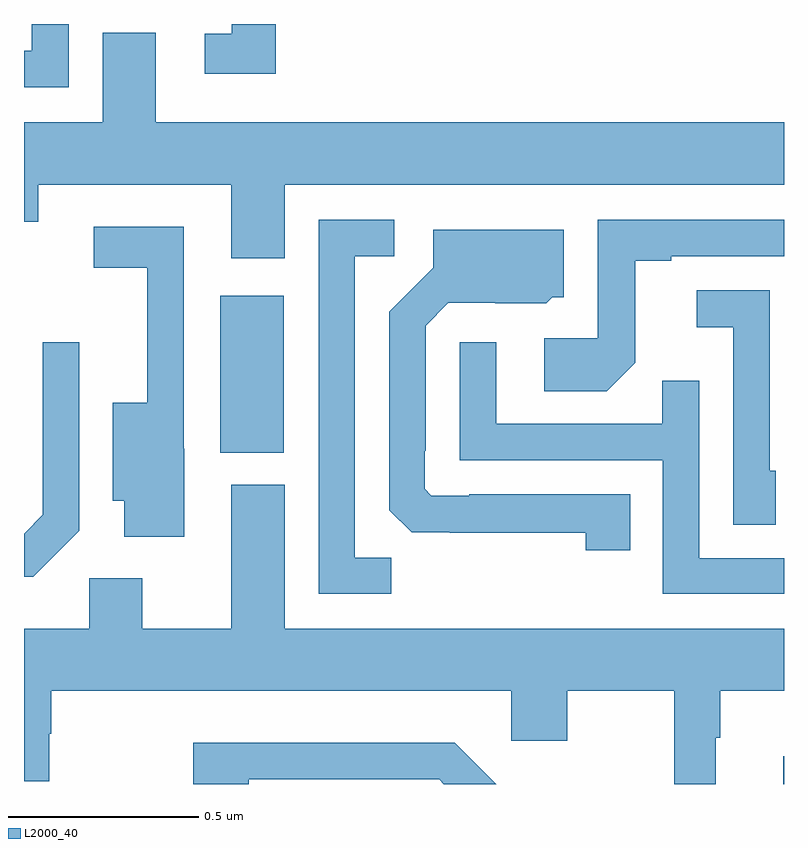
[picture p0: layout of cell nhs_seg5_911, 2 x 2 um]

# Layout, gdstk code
import gdstk
lib = gdstk.Library(unit=1e-6, precision=1e-09)
def R(c, l, rs):  # rectangles x0, y0, x1, y1
    for r in rs: c.add(gdstk.rectangle(r[:2], r[2:], *l))
def P(c, l, *ps):  # polygons
    for p in ps: c.add(gdstk.Polygon(p, *l))
L2000_40 = (2000, 40)

nhs_seg5_911 = lib.new_cell('nhs_seg5_911')
R(nhs_seg5_911, L2000_40, [(123.998,905.799,124,905.872), (122.516,906.671,122.683,907.084)])
P(nhs_seg5_911, L2000_40, [(122.663,907.799),(122.547,907.799),(122.547,907.773),(122.475,907.773),(122.475,907.668),(122.663,907.668)],
  [(122.118,907.799),(122.021,907.799),(122.021,907.728),(122,907.728),(122,907.632),(122.118,907.632)],
  [(122.686,907.376),(124,907.376),(124,907.54),(122.347,907.54),(122.347,907.776),(122.207,907.776),(122.207,907.54),(122,907.54),(122,907.278),(122.038,907.278),(122.038,907.376),(122.546,907.376),(122.546,907.182),(122.686,907.182)],
  [(122.967,906.395),(122.871,906.395),(122.871,907.188),(122.974,907.188),(122.974,907.284),(122.775,907.284),(122.775,906.3),(122.967,906.3)],
  [(123.609,906.908),(123.609,907.176),(123.703,907.176),(123.703,907.188),(124,907.188),(124,907.284),(123.51,907.284),(123.51,906.972),(123.369,906.972),(123.369,906.832),(123.533,906.832)],
  [(122.422,906.681),(122.421,906.681),(122.421,907.266),(122.184,907.266),(122.184,907.158),(122.324,907.158),(122.324,906.802),(122.234,906.802),(122.234,906.545),(122.264,906.545),(122.264,906.45),(122.422,906.45)],
  [(123.596,906.561),(123.172,906.561),(123.172,906.558),(123.072,906.558),(123.054,906.576),(123.054,906.676),(123.057,906.676),(123.057,907.005),(123.117,907.065),(123.24,907.065),(123.24,907.064),(123.374,907.064),(123.39,907.08),(123.421,907.08),(123.421,907.258),(123.077,907.258),(123.077,907.158),(122.961,907.042),(122.961,906.52),(123.02,906.461),(123.121,906.461),(123.121,906.46),(123.478,906.46),(123.478,906.414),(123.596,906.414)],
  [(123.978,906.624),(123.963,906.624),(123.963,907.098),(123.771,907.098),(123.771,907.001),(123.867,907.001),(123.867,906.481),(123.978,906.481)],
  [(124,906.393),(123.777,906.393),(123.777,906.86),(123.679,906.86),(123.679,906.747),(123.243,906.747),(123.243,906.961),(123.147,906.961),(123.147,906.651),(123.681,906.651),(123.681,906.3),(124,906.3)],
  [(122.145,906.465),(122.145,906.961),(122.049,906.961),(122.049,906.507),(122,906.458),(122,906.344),(122.024,906.344)],
  [(123.82,905.921),(123.832,905.921),(123.832,906.044),(124,906.044),(124,906.208),(122.686,906.208),(122.686,906.586),(122.546,906.586),(122.546,906.208),(122.311,906.208),(122.311,906.34),(122.172,906.34),(122.172,906.208),(122,906.208),(122,905.806),(122.067,905.806),(122.067,905.931),(122.072,905.931),(122.072,906.044),(123.282,906.044),(123.282,905.913),(123.429,905.913),(123.429,906.044),(123.711,906.044),(123.711,905.799),(123.82,905.799)],
  [(122.592,905.811),(123.093,905.811),(123.105,905.799),(123.243,905.799),(123.134,905.908),(122.445,905.908),(122.445,905.799),(122.592,905.799)])

lib.write_gds('nhs_seg5_911.gds')
